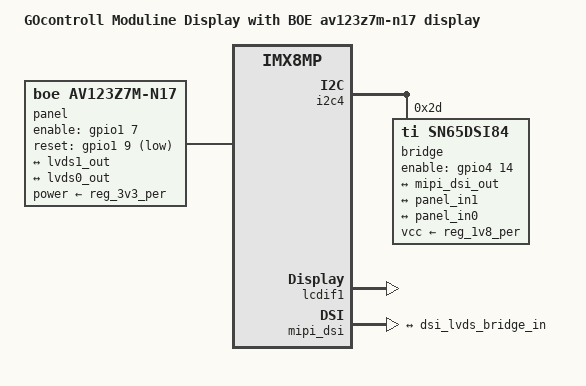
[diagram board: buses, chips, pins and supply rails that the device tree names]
// SPDX-License-Identifier: (GPL-2.0 OR MIT)
/*
 * Copyright 2025 GOcontroll B.V.
 * Author: Maud Spierings <maudspierings@gocontroll.com>
 */

/dts-v1/;

#include "imx8mp-tx8p-ml81-moduline-display-106.dtsi"

/ {
	model = "GOcontroll Moduline Display with BOE av123z7m-n17 display";

	panel {
		compatible = "boe,av123z7m-n17";
		pinctrl-names = "default";
		pinctrl-0 = <&pinctrl_panel>;
		enable-gpios = <&gpio1 7 GPIO_ACTIVE_HIGH>;
		reset-gpios = <&gpio1 9 GPIO_ACTIVE_LOW>;
		power-supply = <&reg_3v3_per>;

		ports {
			#address-cells = <1>;
			#size-cells = <0>;

			port@0 {
				reg = <0>;
				dual-lvds-odd-pixels;

				panel_in0: endpoint {
					remote-endpoint = <&lvds1_out>;
				};
			};

			port@1 {
				reg = <1>;
				dual-lvds-even-pixels;

				panel_in1: endpoint {
					remote-endpoint = <&lvds0_out>;
				};
			};
		};
	};
};

&i2c4 {
	bridge@2d { /* sn65dsi85 */
		compatible = "ti,sn65dsi84";
		reg = <0x2d>;

		pinctrl-names = "default";
		pinctrl-0 = <&pinctrl_lvds_bridge>;
		enable-gpios = <&gpio4 14 GPIO_ACTIVE_HIGH>;
		vcc-supply = <&reg_1v8_per>;

		ports {
			#address-cells = <1>;
			#size-cells = <0>;

			port@0 {
				reg = <0>;

				dsi_lvds_bridge_in: endpoint {
					remote-endpoint = <&mipi_dsi_out>;
					data-lanes = <1 2 3 4>;
				};
			};

			port@2 {
				reg = <2>;

				lvds0_out: endpoint {
					remote-endpoint = <&panel_in1>;
				};
			};

			port@3 {
				reg = <3>;

				lvds1_out: endpoint {
					remote-endpoint = <&panel_in0>;
				};
			};
		};
	};

	/* max25014 @ 0x6f */
};

&lcdif1 {
	status = "okay";
};

&mipi_dsi {
	samsung,esc-clock-frequency = <12000000>;
	/*
	 * burst has to be at least 2x dsi clock that the sn65dsi85 expects
	 * display pixelclock * bpp / lanes / 2 = dsi clock
	 * 88.000.000 * 24 / 4 / 2 = 264.000.000
	 * range gets rounded up to 265.000.000 - 270.000.000
	 * 267.500.000 * 2 = 535.000.000
	 */
	samsung,burst-clock-frequency = <535000000>;
	status = "okay";

	ports {
		port@1 {
			mipi_dsi_out: endpoint {
				remote-endpoint = < &dsi_lvds_bridge_in>;
				data-lanes = <1 2 3 4>;
			};
		};
	};
};

&iomuxc {
	pinctrl_lvds_bridge: lvdsbridgegrp {
		fsl,pins = <
			MX8MP_IOMUXC_SAI1_TXD2__GPIO4_IO14 /* COM pin 113 */
			MX8MP_DSE_X1
		>;
	};

	pinctrl_panel: panelgrp {
		fsl,pins = <
			MX8MP_IOMUXC_GPIO1_IO07__GPIO1_IO07 /* COM pin 157 */
			MX8MP_DSE_X1
			MX8MP_IOMUXC_GPIO1_IO09__GPIO1_IO09 /* COM pin 159 */
			MX8MP_DSE_X1
		>;
	};
};
